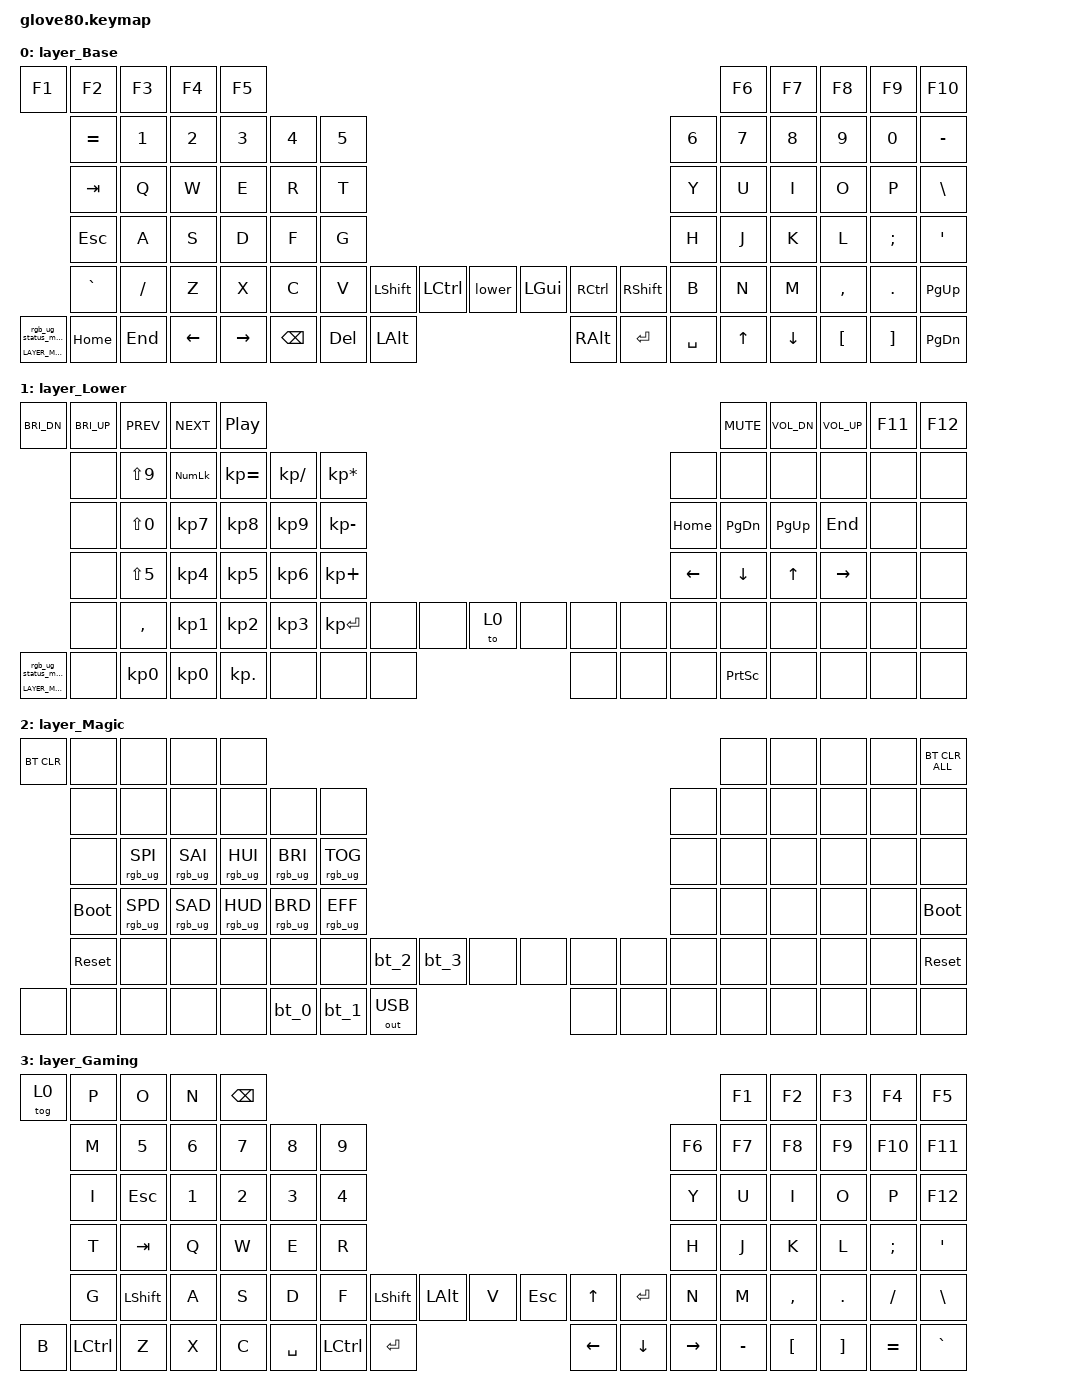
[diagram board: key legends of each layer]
/*
 * Copyright (c) 2020 The ZMK Contributors
 * Copyright (c) 2025 Innaworks Development Limited, trading as MoErgo
 *
 * SPDX-License-Identifier: MIT
 */


/* THIS FILE WAS GENERATED BY GLOVE80 LAYOUT EDITOR
 *
 * This file was generated automatically. You may or may not want to
 * edit it directly.
 */

#include <behaviors.dtsi>
/* Include all behavior includes needed */
#include <dt-bindings/zmk/outputs.h>
#include <dt-bindings/zmk/keys.h>
#include <dt-bindings/zmk/bt.h>
#include <dt-bindings/zmk/rgb.h>
#include <dt-bindings/zmk/rgb_colors.h>
/* On demand includes */


/* Helper Macros, based on https://github.com/urob/zmk-helpers/ */

#pragma once

#define ZMK_HELPER_STRINGIFY(x) #x

// Preprocessor mechanism to overload macros, cf. https://stackoverflow.com/a/27051616/6114651
#define VARGS_(_10, _9, _8, _7, _6, _5, _4, _3, _2, _1, N, ...) N
#define VARGS(...) VARGS_(__VA_ARGS__, 10, 9, 8, 7, 6, 5, 4, 3, 2, 1, 0)
#define CONCAT_(a, b) a##b
#define CONCAT(a, b) CONCAT_(a, b)

#define ZMK_BEHAVIOR_CORE_tap_dance  \
    compatible = "zmk,behavior-tap-dance"; \
    #binding-cells = <0>

#define ZMK_BEHAVIOR(name, type, ...) \
    name: name { \
        ZMK_BEHAVIOR_CORE_ ## type; \
        __VA_ARGS__ \
    };

#define ZMK_TAP_DANCE(name, ...) \
    ZMK_BEHAVIOR(name, tap_dance, __VA_ARGS__)

#define ZMK_TD_LAYER(name, layer) \
    ZMK_TAP_DANCE(name, \
        tapping-term-ms = <200>; \
        bindings = <&mo layer>, <&to layer>; \
)

/* Environment and metadata defines */
#define KB_TYPE_GLOVE_80 1
#define KB_TYPE_GO_60    2

#define KB_TYPE          KB_TYPE_GLOVE_80
#define EDITOR_HOST_OS   'W'

/* Automatically generated layer name defines */
#define LAYER_Base 0
#define LAYER_Lower 1
#define LAYER_Magic 2
#define LAYER_Gaming 3

/* To deal with the situation where there is no Lower layer, to keep &lower happy */
#ifndef LAYER_Lower
#define LAYER_Lower 0
#endif

/* Custom Device-tree */
/ {
    underglow-layer {
        compatible = "zmk,underglow-layer";

        gaming {
            layer-id = <LAYER_Gaming>;
            bindings = 
     &ug 0x0000FF &ug 0x0000FF &ug 0x0000FF &ug 0x0000FF &ug 0x0000FF                                                                                                            &ug 0x000000 &ug 0x000000 &ug 0x000000 &ug 0x000000 &ug 0x000000
     &ug 0x0000FF &ug 0x0000FF &ug 0x0000FF &ug 0x0000FF &ug 0x0000FF &ug 0x0000FF                                                                                   &ug 0x000000 &ug 0x000000 &ug 0x000000 &ug 0x000000 &ug 0x000000 &ug 0x000000
     &ug 0x0000FF &ug 0x0000FF &ug 0x0000FF &ug 0x0000FF &ug 0x0000FF &ug 0x0000FF                                                                                   &ug 0x000000 &ug 0x000000 &ug 0x000000 &ug 0x000000 &ug 0x000000 &ug 0x000000
     &ug 0x0000FF &ug 0x0000FF &ug 0x0000FF &ug 0x0000FF &ug 0x0000FF &ug 0x0000FF                                                                                   &ug 0x000000 &ug 0x000000 &ug 0x000000 &ug 0x000000 &ug 0x000000 &ug 0x000000
     &ug 0x0000FF &ug 0x0000FF &ug 0x0000FF &ug 0x0000FF &ug 0x0000FF &ug 0x0000FF &ug 0x0000FF &ug 0x0000FF &ug 0x0000FF &ug 0x000000 &ug 0x000000 &ug 0x000000      &ug 0x000000 &ug 0x000000 &ug 0x000000 &ug 0x000000 &ug 0x000000 &ug 0x000000
     &ug 0x0000FF &ug 0x0000FF &ug 0x0000FF &ug 0x0000FF &ug 0x0000FF             &ug 0x0000FF &ug 0x0000FF &ug 0x0000FF &ug 0x000000 &ug 0x000000 &ug 0x000000                   &ug 0x000000 &ug 0x000000 &ug 0x000000 &ug 0x000000 &ug 0x000000
            >;
        };

        lower {
            layer-id = <LAYER_Lower>;
            bindings = 
     &ug 0x000000 &ug 0x000000 &ug 0x000000 &ug 0x000000 &ug 0x000000                                                                                                            &ug 0x000000 &ug 0x000000 &ug 0x000000 &ug 0x000000 &ug 0x000000
     &ug 0x000000 &ug 0x0000FF &ug 0x000000 &ug 0x000000 &ug 0x000000 &ug 0x000000                                                                                   &ug 0x000000 &ug 0x000000 &ug 0x000000 &ug 0x000000 &ug 0x000000 &ug 0x000000
     &ug 0x000000 &ug 0x000000 &ug 0x000000 &ug 0x000000 &ug 0x000000 &ug 0x000000                                                                                   &ug 0x000000 &ug 0x000000 &ug 0x000000 &ug 0x000000 &ug 0x000000 &ug 0x000000
     &ug 0x000000 &ug 0x000000 &ug 0x000000 &ug 0x000000 &ug 0x000000 &ug 0x000000                                                                                   &ug 0x000000 &ug 0x000000 &ug 0x000000 &ug 0x000000 &ug 0x000000 &ug 0x000000
     &ug 0x000000 &ug 0x000000 &ug 0x000000 &ug 0x000000 &ug 0x000000 &ug 0x000000 &ug 0x000000 &ug 0x000000 &ug 0x000000 &ug 0x000000 &ug 0x000000 &ug 0x000000      &ug 0x000000 &ug 0x000000 &ug 0x000000 &ug 0x000000 &ug 0x000000 &ug 0x000000
     &ug 0x000000 &ug 0x000000 &ug 0x000000 &ug 0x000000 &ug 0x000000             &ug 0x000000 &ug 0x000000 &ug 0x000000 &ug 0x000000 &ug 0x000000 &ug 0x000000                   &ug 0x000000 &ug 0x000000 &ug 0x000000 &ug 0x000000 &ug 0x000000
            >;
        };

        magic {
            layer-id = <LAYER_Magic>;
            bindings = 
     &ug 0x000000 &ug 0x000000 &ug 0x000000 &ug 0x000000 &ug 0x000000                                                                                                            &ug 0x000000 &ug 0x000000 &ug 0x000000 &ug 0x000000 &ug 0x000000
     &ug 0x000000 &ug 0x000000 &ug 0x0000FF &ug 0x000000 &ug 0x000000 &ug 0x000000                                                                                   &ug 0x000000 &ug 0x000000 &ug 0x000000 &ug 0x000000 &ug 0x000000 &ug 0x000000
     &ug 0x000000 &ug 0x000000 &ug 0x000000 &ug 0x000000 &ug 0x000000 &ug 0x000000                                                                                   &ug 0x000000 &ug 0x000000 &ug 0x000000 &ug 0x000000 &ug 0x000000 &ug 0x000000
     &ug 0x000000 &ug 0x000000 &ug 0x000000 &ug 0x000000 &ug 0x000000 &ug 0x000000                                                                                   &ug 0x000000 &ug 0x000000 &ug 0x000000 &ug 0x000000 &ug 0x000000 &ug 0x000000
     &ug 0x000000 &ug 0x000000 &ug 0x000000 &ug 0x000000 &ug 0x000000 &ug 0x000000 &ug 0x000000 &ug 0x000000 &ug 0x000000 &ug 0x000000 &ug 0x000000 &ug 0x000000      &ug 0x000000 &ug 0x000000 &ug 0x000000 &ug 0x000000 &ug 0x000000 &ug 0x000000
     &ug 0x000000 &ug 0x000000 &ug 0x000000 &ug 0x000000 &ug 0x000000             &ug 0x000000 &ug 0x000000 &ug 0x000000 &ug 0x000000 &ug 0x000000 &ug 0x000000                   &ug 0x000000 &ug 0x000000 &ug 0x000000 &ug 0x000000 &ug 0x000000
            >;
        };
    };
};

/ {
#ifdef BT_DISC_CMD
    behaviors {
        bt_0: bt_0 {
            compatible = "zmk,behavior-tap-dance";
            label = "BT_0";
            #binding-cells = <0>;
            tapping-term-ms = <200>;
            bindings = <&bt_select_0>, <&bt BT_DISC 0>;
        };
        bt_1: bt_1 {
            compatible = "zmk,behavior-tap-dance";
            label = "BT_1";
            #binding-cells = <0>;
            tapping-term-ms = <200>;
            bindings = <&bt_select_1>, <&bt BT_DISC 1>;
        };
        bt_2: bt_2 {
            compatible = "zmk,behavior-tap-dance";
            label = "BT_2";
            #binding-cells = <0>;
            tapping-term-ms = <200>;
            bindings = <&bt_select_2>, <&bt BT_DISC 2>;
        };
        bt_3: bt_3 {
            compatible = "zmk,behavior-tap-dance";
            label = "BT_3";
            #binding-cells = <0>;
            tapping-term-ms = <200>;
            bindings = <&bt_select_3>, <&bt BT_DISC 3>;
        };
    };
    macros {
        bt_select_0: bt_select_0 {
            label = "BT_SELECT_0";
            compatible = "zmk,behavior-macro";
            #binding-cells = <0>;
            bindings
                = <&out OUT_BLE>,
                  <&bt BT_SEL 0>;
        };
        bt_select_1: bt_select_1 {
            label = "BT_SELECT_1";
            compatible = "zmk,behavior-macro";
            #binding-cells = <0>;
            bindings
                = <&out OUT_BLE>,
                  <&bt BT_SEL 1>;
        };
        bt_select_2: bt_select_2 {
            label = "BT_SELECT_2";
            compatible = "zmk,behavior-macro";
            #binding-cells = <0>;
            bindings
                = <&out OUT_BLE>,
                  <&bt BT_SEL 2>;
        };
        bt_select_3: bt_select_3 {
            label = "BT_SELECT_3";
            compatible = "zmk,behavior-macro";
            #binding-cells = <0>;
            bindings
                = <&out OUT_BLE>,
                  <&bt BT_SEL 3>;
        };
    };
#else
    macros {
        bt_0: bt_0 {
            label = "BT_0";
            compatible = "zmk,behavior-macro";
            #binding-cells = <0>;
            bindings
                = <&out OUT_BLE>,
                  <&bt BT_SEL 0>;
        };
        bt_1: bt_1 {
            label = "BT_1";
            compatible = "zmk,behavior-macro";
            #binding-cells = <0>;
            bindings
                = <&out OUT_BLE>,
                  <&bt BT_SEL 1>;
        };
        bt_2: bt_2 {
            label = "BT_2";
            compatible = "zmk,behavior-macro";
            #binding-cells = <0>;
            bindings
                = <&out OUT_BLE>,
                  <&bt BT_SEL 2>;
        };
        bt_3: bt_3 {
            label = "BT_3";
            compatible = "zmk,behavior-macro";
            #binding-cells = <0>;
            bindings
                = <&out OUT_BLE>,
                  <&bt BT_SEL 3>;
        };
    };
#endif
};

/ {
    behaviors {
        magic: magic {
            compatible = "zmk,behavior-hold-tap";
            label = "MAGIC_HOLD_TAP";
            #binding-cells = <2>;
            flavor = "tap-preferred";
            tapping-term-ms = <200>;
            bindings = <&mo>, <&rgb_ug_status_macro>;
        };
    };
};


/* Key positions */

#define POS_LH_C6R1 0
#define POS_LH_C5R1 1
#define POS_LH_C4R1 2
#define POS_LH_C3R1 3
#define POS_LH_C2R1 4
#define POS_RH_C2R1 5
#define POS_RH_C3R1 6
#define POS_RH_C4R1 7
#define POS_RH_C5R1 8
#define POS_RH_C6R1 9
#define POS_LH_C6R2 10
#define POS_LH_C5R2 11
#define POS_LH_C4R2 12
#define POS_LH_C3R2 13
#define POS_LH_C2R2 14
#define POS_LH_C1R2 15
#define POS_RH_C1R2 16
#define POS_RH_C2R2 17
#define POS_RH_C3R2 18
#define POS_RH_C4R2 19
#define POS_RH_C5R2 20
#define POS_RH_C6R2 21
#define POS_LH_C6R3 22
#define POS_LH_C5R3 23
#define POS_LH_C4R3 24
#define POS_LH_C3R3 25
#define POS_LH_C2R3 26
#define POS_LH_C1R3 27
#define POS_RH_C1R3 28
#define POS_RH_C2R3 29
#define POS_RH_C3R3 30
#define POS_RH_C4R3 31
#define POS_RH_C5R3 32
#define POS_RH_C6R3 33
#define POS_LH_C6R4 34
#define POS_LH_C5R4 35
#define POS_LH_C4R4 36
#define POS_LH_C3R4 37
#define POS_LH_C2R4 38
#define POS_LH_C1R4 39
#define POS_RH_C1R4 40
#define POS_RH_C2R4 41
#define POS_RH_C3R4 42
#define POS_RH_C4R4 43
#define POS_RH_C5R4 44
#define POS_RH_C6R4 45
#define POS_LH_C6R5 46
#define POS_LH_C5R5 47
#define POS_LH_C4R5 48
#define POS_LH_C3R5 49
#define POS_LH_C2R5 50
#define POS_LH_C1R5 51
#define POS_LH_T1 52
#define POS_LH_T2 53
#define POS_LH_T3 54
#define POS_RH_T3 55
#define POS_RH_T2 56
#define POS_RH_T1 57
#define POS_RH_C1R5 58
#define POS_RH_C2R5 59
#define POS_RH_C3R5 60
#define POS_RH_C4R5 61
#define POS_RH_C5R5 62
#define POS_RH_C6R5 63
#define POS_LH_C6R6 64
#define POS_LH_C5R6 65
#define POS_LH_C4R6 66
#define POS_LH_C3R6 67
#define POS_LH_C2R6 68
#define POS_LH_T4 69
#define POS_LH_T5 70
#define POS_LH_T6 71
#define POS_RH_T6 72
#define POS_RH_T5 73
#define POS_RH_T4 74
#define POS_RH_C2R6 75
#define POS_RH_C3R6 76
#define POS_RH_C4R6 77
#define POS_RH_C5R6 78
#define POS_RH_C6R6 79


/* Custom Defined Behaviors */
/ {
combos {
    compatible = "zmk,combos";
    combo_gaming {
        timeout-ms = <50>;
        key-positions = <50 68>;
        bindings = <&tog 3>;
    };
};
};

/* Generated input processors */


/* Automatically generated macro definitions */
/ {
    macros {

    };
};

/* Automatically generated behavior definitions */
/ {
    behaviors {


    };
};

/* Automatically generated combos definitions */
/ {
    combos {
        compatible = "zmk,combos";

        combo_gaming_layer {
            key-positions = <POS_LH_C2R6 POS_LH_C1R5>;
            bindings = <&to LAYER_Gaming>;
            layers = <LAYER_Base>;
        };
    };
};

/* Automatically generated keymap */
/ {
    keymap {
        compatible = "zmk,keymap";


        layer_Base {
            bindings = <
               &kp F1    &kp F2   &kp F3    &kp F4     &kp F5                                                                                  &kp F6    &kp F7     &kp F8    &kp F9    &kp F10
            &kp EQUAL    &kp N1   &kp N2    &kp N3     &kp N4  &kp N5                                                                  &kp N6  &kp N7    &kp N8     &kp N9    &kp N0  &kp MINUS
              &kp TAB     &kp Q    &kp W     &kp E      &kp R   &kp T                                                                   &kp Y   &kp U     &kp I      &kp O     &kp P   &kp BSLH
              &kp ESC     &kp A    &kp S     &kp D      &kp F   &kp G                                                                   &kp H   &kp J     &kp K      &kp L  &kp SEMI    &kp SQT
            &kp GRAVE  &kp FSLH    &kp Z     &kp X      &kp C   &kp V  &kp LSHFT  &kp LCTRL    &lower  &kp LGUI  &kp RCTRL  &kp RSHFT   &kp B   &kp N     &kp M  &kp COMMA   &kp DOT  &kp PG_UP
 &magic LAYER_Magic 0  &kp HOME  &kp END  &kp LEFT  &kp RIGHT           &kp BSPC    &kp DEL  &kp LALT  &kp RALT    &kp RET  &kp SPACE          &kp UP  &kp DOWN   &kp LBKT  &kp RBKT  &kp PG_DN
            >;
        };

        layer_Lower {
            bindings = <
         &kp C_BRI_DN  &kp C_BRI_UP  &kp C_PREV    &kp C_NEXT      &kp C_PP                                                                             &kp C_MUTE  &kp C_VOL_DN  &kp C_VOL_UP  &kp F11  &kp F12
                &none    &kp LS(N9)  &kp KP_NUM  &kp KP_EQUAL  &kp KP_SLASH  &kp KP_MULTIPLY                                                     &none       &none         &none         &none    &none    &none
                &none    &kp LS(N0)   &kp KP_N7     &kp KP_N8     &kp KP_N9     &kp KP_MINUS                                                  &kp HOME   &kp PG_DN     &kp PG_UP       &kp END    &none    &none
                &none    &kp LS(N5)   &kp KP_N4     &kp KP_N5     &kp KP_N6      &kp KP_PLUS                                                  &kp LEFT    &kp DOWN        &kp UP     &kp RIGHT    &none    &none
                &none     &kp COMMA   &kp KP_N1     &kp KP_N2     &kp KP_N3     &kp KP_ENTER   &none   &none   &to 0   &none   &none   &none     &none       &none         &none         &none    &none    &none
 &magic LAYER_Magic 0         &none   &kp KP_N0     &kp KP_N0    &kp KP_DOT                    &none   &none   &none   &none   &none   &none             &kp PSCRN         &none         &none    &none    &none
            >;
        };

        layer_Magic {
            bindings = <
  &bt BT_CLR            &none            &none            &none            &none                                                                                  &none   &none   &none   &none  &bt BT_CLR_ALL
       &none            &none            &none            &none            &none            &none                                                         &none   &none   &none   &none   &none           &none
       &none  &rgb_ug RGB_SPI  &rgb_ug RGB_SAI  &rgb_ug RGB_HUI  &rgb_ug RGB_BRI  &rgb_ug RGB_TOG                                                         &none   &none   &none   &none   &none           &none
 &bootloader  &rgb_ug RGB_SPD  &rgb_ug RGB_SAD  &rgb_ug RGB_HUD  &rgb_ug RGB_BRD  &rgb_ug RGB_EFF                                                         &none   &none   &none   &none   &none     &bootloader
  &sys_reset            &none            &none            &none            &none            &none   &bt_2   &bt_3         &none   &none   &none   &none   &none   &none   &none   &none   &none      &sys_reset
       &none            &none            &none            &none            &none                    &bt_0   &bt_1  &out OUT_USB   &none   &none   &none           &none   &none   &none   &none           &none
            >;
        };

        layer_Gaming {
            bindings = <
 &tog 0      &kp P   &kp O   &kp N  &kp BSPC                                                                                   &kp F1     &kp F2    &kp F3     &kp F4     &kp F5
  &kp M     &kp N5  &kp N6  &kp N7    &kp N8  &kp N9                                                                &kp F6     &kp F7     &kp F8    &kp F9    &kp F10    &kp F11
  &kp I    &kp ESC  &kp N1  &kp N2    &kp N3  &kp N4                                                                 &kp Y      &kp U      &kp I     &kp O      &kp P    &kp F12
  &kp T    &kp TAB   &kp Q   &kp W     &kp E   &kp R                                                                 &kp H      &kp J      &kp K     &kp L   &kp SEMI    &kp SQT
  &kp G  &kp LSHFT   &kp A   &kp S     &kp D   &kp F  &kp LSHFT   &kp LALT    &kp V   &kp ESC    &kp UP    &kp RET   &kp N      &kp M  &kp COMMA   &kp DOT   &kp FSLH   &kp BSLH
  &kp B  &kp LCTRL   &kp Z   &kp X     &kp C          &kp SPACE  &kp LCTRL  &kp RET  &kp LEFT  &kp DOWN  &kp RIGHT          &kp MINUS   &kp LBKT  &kp RBKT  &kp EQUAL  &kp GRAVE
            >;
        };

    };
};
